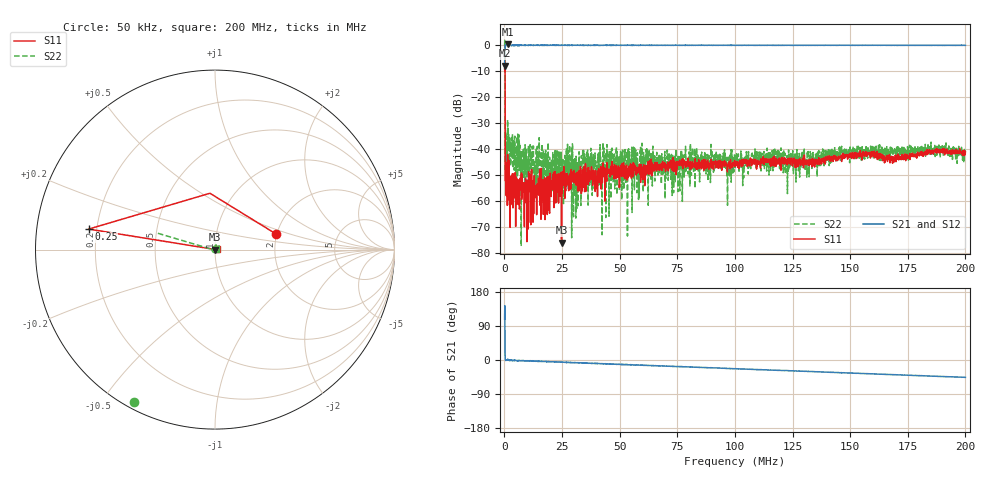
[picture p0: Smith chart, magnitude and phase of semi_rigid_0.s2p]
! 26-Feb-26 2:23:24 PM
! E:\VNA_MEASUREMENTS\HEATED_LOAD\SEMI_RIGID_0.S2P
! CHANNEL.1
! TR.MEASUREMENT
! CORRECTED.DATA
# GHZ S RI R 50.0
! FREQ.GHZ  S11RE  S11IM  S21RE  S21IM  S12RE  S12IM  S22RE  S22IM
!; PortSelection: Port_12
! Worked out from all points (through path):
!   2000 points, 50 kHz to 200 MHz, reference 50 ohm
!   highest |S21| = 0.34 dB at 1.35 MHz (marker M1); lowest = -7.9 dB at 50 kHz (marker M2)
!   lowest |S11| = -76.1 dB at 24.76 MHz (marker M3), VSWR 1.00, Z = 50 + j0.011 ohm
!   |S11| at or under -10 dB: 147 kHz to 150.4 kHz (3.393 kHz wide, 2.28 % of centre); 264.6 kHz to end of sweep
!   |S22| runs from -77.4 to 1.8 dB; largest |S21 - S12| = 1.5
!   S11 on the Smith chart (normalised r, x): 50 kHz: 1.98, +0.39; 250 kHz: 0.17, +0.08; 200 MHz: 1.02, +0.00
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5e-05  0.3408 0.0866  -0.1274 0.3844  0.9976 0.2353  -0.454 -0.8485
0.00025005  -0.7037 0.1144  0.5953 0.227  0.495 -0.0379  -0.3181 0.0908
0.001350325  0.00783 0.000526  1.039 0.0287  1.008 -0.00422  0.0293 0.022
0.009252301  0.00133 0.00148  0.9924 -0.0439  0.9957 -0.0385  -0.00564 0.000329
0.01135283  0.00167 0.00276  1.009 -0.0431  1.002 -0.0484  0.00689 -0.00362
0.01315328  0.00105 0.00108  0.9956 -0.0528  0.9949 -0.0545  0.000521 0.00261
0.01815453  0.00145 0.00128  0.9952 -0.0646  0.9968 -0.0687  0.00644 0.00349
0.02025505  0.00116 0.00218  1.001 -0.0826  0.994 -0.0781  -6.29e-05 -0.002
0.02185545  0.00051 0.00103  0.9866 -0.0807  0.9955 -0.0883  0.00683 0.00614
0.02475618  -0.000112 0.00011  0.9909 -0.0946  0.9939 -0.0979  0.00515 0.00271
0.02785695  0.000794 0.00135  0.9885 -0.1072  0.9956 -0.1107  0.00525 0.00257
0.03065765  0.00139 0.00265  0.9911 -0.1191  0.9907 -0.1233  0.00358 0.000275
0.03345835  0.00254 0.00184  0.9896 -0.1405  0.9878 -0.1324  -0.00042 0.00611
0.04296073  0.00327 0.00111  0.9777 -0.1654  0.9828 -0.1673  0.00498 -0.00214
0.04506126  0.00337 0.0018  0.9807 -0.1845  0.9797 -0.1751  0.00397 0.00508
0.05816453  0.00372 0.000979  0.9675 -0.2242  0.9715 -0.2316  -0.00106 -7.34e-05
0.06126531  0.00317 0.00316  0.964 -0.2435  0.9702 -0.2424  0.0033 0.000577
0.06676668  0.00337 0.0022  0.9649 -0.2611  0.9644 -0.2646  0.00183 0.00647
0.100075  0.00321 0.00322  0.919 -0.391  0.9167 -0.3926  0.00249 0.00363
0.1333833  0.00375 0.00255  0.8586 -0.5039  0.8645 -0.5043  0.00234 0.00351
0.1666917  0.00627 0.00184  0.7799 -0.6175  0.7803 -0.62  0.00429 0.00643
0.2  0.0088 0.00121  0.693 -0.7121  0.6901 -0.7075  0.00671 0.00451
